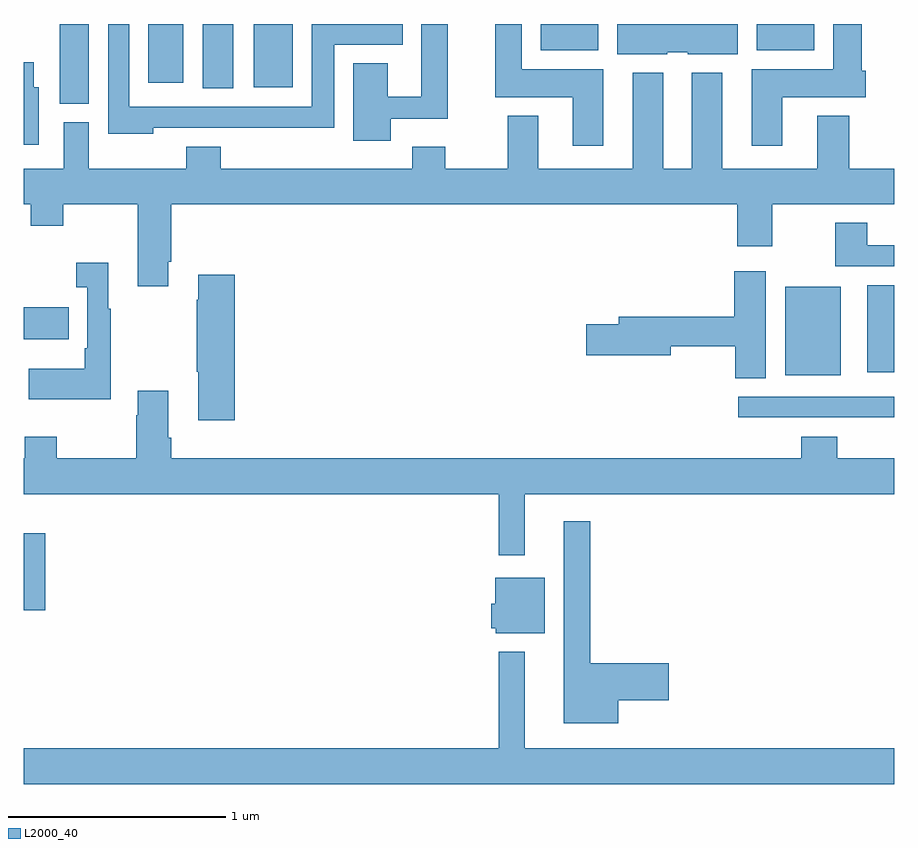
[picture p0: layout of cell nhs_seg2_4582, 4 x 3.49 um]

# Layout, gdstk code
import gdstk
lib = gdstk.Library(unit=1e-6, precision=1e-09)
def R(c, l, rs):  # rectangles x0, y0, x1, y1
    for r in rs: c.add(gdstk.rectangle(r[:2], r[2:], *l))
def P(c, l, *ps):  # polygons
    for p in ps: c.add(gdstk.Polygon(p, *l))
L2000_40 = (2000, 40)

nhs_seg2_4582 = lib.new_cell('nhs_seg2_4582')
R(nhs_seg2_4582, L2000_40, [(359,643.106,359.099,643.459), (362.283,643.992,363,644.088), (362.498,644.186,362.755,644.593), (362.876,644.201,363,644.599), (359,644.351,359.207,644.499), (359.165,645.433,359.299,645.8), (359.822,645.505,359.962,645.8), (360.056,645.509,360.235,645.8), (359.573,645.531,359.734,645.8), (361.376,645.68,361.639,645.8), (362.369,645.68,362.632,645.8)])
P(nhs_seg2_4582, L2000_40, [(359.595,645.324),(359.989,645.324),(359.989,645.323),(360.427,645.323),(360.427,645.705),(360.742,645.705),(360.742,645.8),(360.323,645.8),(360.323,645.42),(359.484,645.42),(359.484,645.8),(359.388,645.8),(359.388,645.296),(359.595,645.296)],
  [(360.686,645.365),(360.949,645.365),(360.949,645.8),(360.827,645.8),(360.827,645.465),(360.673,645.465),(360.673,645.62),(360.515,645.62),(360.515,645.264),(360.686,645.264)],
  [(361.956,645.671),(362.052,645.671),(362.052,645.662),(362.281,645.662),(362.281,645.8),(361.727,645.8),(361.727,645.662),(361.956,645.662)],
  [(361.663,645.592),(361.288,645.592),(361.288,645.8),(361.166,645.8),(361.166,645.464),(361.523,645.464),(361.523,645.24),(361.663,645.24)],
  [(362.485,645.464),(362.868,645.464),(362.868,645.585),(362.85,645.585),(362.85,645.8),(362.72,645.8),(362.72,645.592),(362.345,645.592),(362.345,645.24),(362.485,645.24)],
  [(359.068,645.51),(359.047,645.51),(359.047,645.625),(359,645.625),(359,645.245),(359.068,645.245)],
  [(359.665,644.707),(359.678,644.707),(359.678,644.972),(362.279,644.972),(362.279,644.778),(362.439,644.778),(362.439,644.972),(363,644.972),(363,645.136),(362.793,645.136),(362.793,645.379),(362.645,645.379),(362.645,645.136),(362.209,645.136),(362.209,645.577),(362.069,645.577),(362.069,645.136),(361.939,645.136),(361.939,645.577),(361.799,645.577),(361.799,645.136),(361.363,645.136),(361.363,645.379),(361.223,645.379),(361.223,645.136),(360.937,645.136),(360.937,645.235),(360.785,645.235),(360.785,645.136),(359.906,645.136),(359.906,645.235),(359.746,645.235),(359.746,645.136),(359.299,645.136),(359.299,645.348),(359.183,645.348),(359.183,645.136),(359,645.136),(359,644.972),(359.033,644.972),(359.033,644.873),(359.181,644.873),(359.181,644.972),(359.525,644.972),(359.525,644.595),(359.665,644.595)],
  [(363,644.784),(362.875,644.784),(362.875,644.887),(362.728,644.887),(362.728,644.688),(363,644.688)],
  [(359.401,644.491),(359.389,644.491),(359.389,644.704),(359.241,644.704),(359.241,644.591),(359.292,644.591),(359.292,644.311),(359.28,644.311),(359.28,644.215),(359.023,644.215),(359.023,644.075),(359.401,644.075)],
  [(362.41,644.665),(362.264,644.665),(362.264,644.456),(361.733,644.456),(361.733,644.42),(361.584,644.42),(361.584,644.278),(361.972,644.278),(361.972,644.32),(362.269,644.32),(362.269,644.173),(362.41,644.173)],
  [(359.969,644.647),(359.801,644.647),(359.801,644.534),(359.794,644.534),(359.794,644.203),(359.801,644.203),(359.801,643.98),(359.969,643.98)],
  [(361.303,643.64),(363,643.64),(363,643.804),(362.738,643.804),(362.738,643.903),(362.573,643.903),(362.573,643.804),(359.678,643.804),(359.678,643.9),(359.665,643.9),(359.665,644.116),(359.525,644.116),(359.525,644.003),(359.518,644.003),(359.518,643.804),(359.151,643.804),(359.151,643.903),(359.004,643.903),(359.004,643.804),(359,643.804),(359,643.64),(361.182,643.64),(361.182,643.359),(361.303,643.359)],
  [(361.732,642.692),(361.963,642.692),(361.963,642.863),(361.603,642.863),(361.603,643.516),(361.481,643.516),(361.481,642.587),(361.732,642.587)],
  [(361.393,643.255),(361.166,643.255),(361.166,643.137),(361.148,643.137),(361.148,643.023),(361.17,643.023),(361.17,643.001),(361.393,643.001)],
  [(363,642.472),(361.303,642.472),(361.303,642.916),(361.182,642.916),(361.182,642.472),(359,642.472),(359,642.308),(363,642.308)])

lib.write_gds('nhs_seg2_4582.gds')
